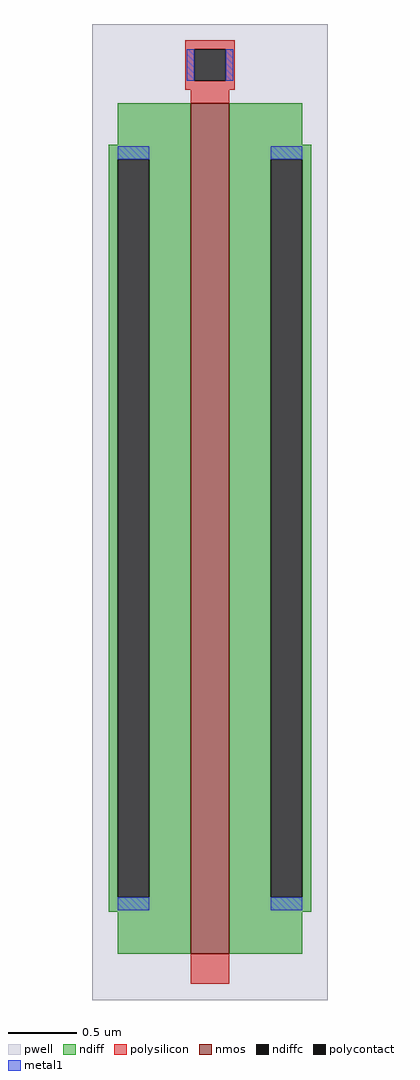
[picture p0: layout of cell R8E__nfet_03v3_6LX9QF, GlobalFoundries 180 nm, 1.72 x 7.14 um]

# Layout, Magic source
magic
tech gf180mcuD
magscale 1 10
<< pwell >>
rect -172 -714 172 714
<< nmos >>
rect -28 -646 28 598
<< ndiff >>
rect -135 537 -28 598
rect -148 516 -28 537
rect -148 -564 -135 516
rect -89 -564 -28 516
rect -148 -585 -28 -564
rect -135 -646 -28 -585
rect 28 537 135 598
rect 28 516 148 537
rect 28 -564 89 516
rect 135 -564 148 516
rect 28 -585 148 -564
rect 28 -646 135 -585
<< ndiffc >>
rect -135 -564 -89 516
rect 89 -564 135 516
<< polysilicon >>
rect -36 677 36 690
rect -36 631 -23 677
rect 23 631 36 677
rect -36 618 36 631
rect -28 598 28 618
rect -28 -690 28 -646
<< polycontact >>
rect -23 631 23 677
<< metal1 >>
rect -34 631 -23 677
rect 23 631 34 677
rect -135 516 -89 535
rect -135 -583 -89 -564
rect 89 516 135 535
rect 89 -583 135 -564
<< properties >>
string GDS_END 143838
string GDS_FILE ../native_sources/A44_A_Q2_BEFORE_ESD.gds
string GDS_START 141338
<< end >>
